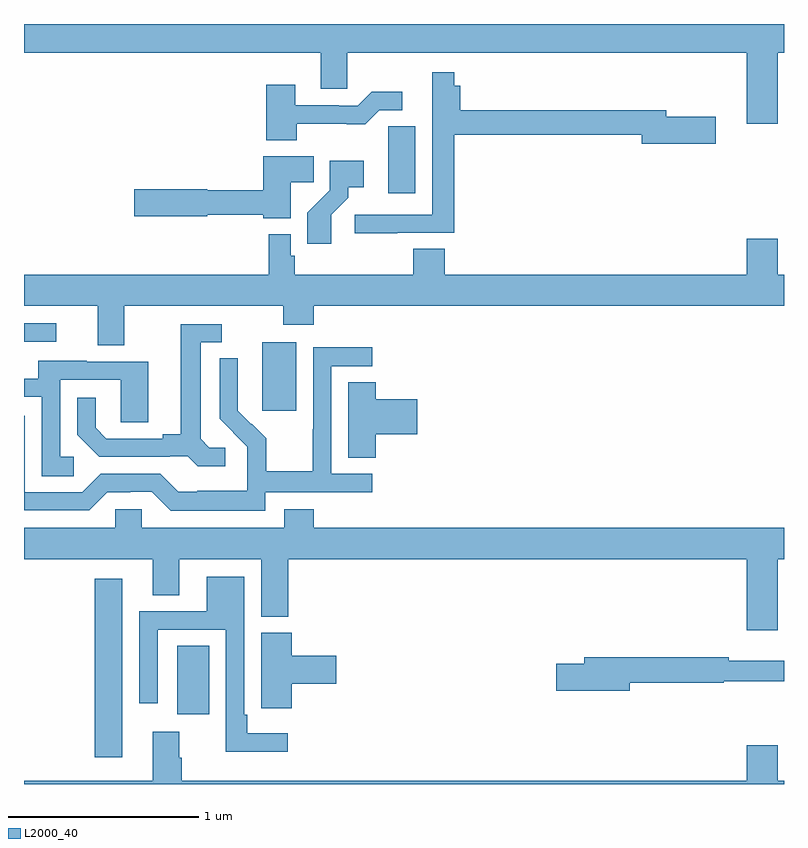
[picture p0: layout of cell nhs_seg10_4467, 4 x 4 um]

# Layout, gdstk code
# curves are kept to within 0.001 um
import gdstk
lib = gdstk.Library(unit=1e-6, precision=1e-09)
def R(c, l, rs):  # rectangles x0, y0, x1, y1
    for r in rs: c.add(gdstk.rectangle(r[:2], r[2:], *l))
def P(c, l, *ps):  # polygons
    for p in ps: c.add(gdstk.Polygon(p, *l))
L2000_40 = (2000, 40)

nhs_seg10_4467 = lib.new_cell('nhs_seg10_4467')
R(nhs_seg10_4467, L2000_40, [(365.372,1264.641,365.518,1265.581), (365.807,1264.866,365.974,1265.228), (366.254,1266.465,366.433,1266.826), (365,1266.828,365.17,1266.924)])
P(nhs_seg10_4467, L2000_40, [(368.968,1268.348),(369,1268.348),(369,1268.5),(365,1268.5),(365,1268.348),(366.563,1268.348),(366.563,1268.158),(366.702,1268.158),(366.702,1268.348),(368.804,1268.348),(368.804,1267.974),(368.968,1267.974)],
  [(366.965,1267.401),(367.265,1267.401),(367.265,1267.918),(368.252,1267.918),(368.252,1267.871),(368.641,1267.871),(368.641,1268.013),(368.38,1268.013),(368.38,1268.047),(367.295,1268.047),(367.295,1268.176),(367.265,1268.176),(367.265,1268.245),(367.149,1268.245),(367.149,1267.497),(366.741,1267.497),(366.741,1267.399),(366.965,1267.399)],
  [(366.435,1267.974),(366.797,1267.973),(366.87,1268.046),(366.991,1268.046),(366.991,1268.143),(366.829,1268.143),(366.756,1268.07),(366.656,1268.07),(366.656,1268.073),(366.427,1268.073),(366.427,1268.179),(366.275,1268.179),(366.275,1267.889),(366.435,1267.889)],
  [(367.06,1267.961),(366.918,1267.961),(366.918,1267.85),(366.917,1267.85),(366.917,1267.608),(367.06,1267.608)],
  [(366.403,1267.666),(366.524,1267.666),(366.524,1267.804),(366.259,1267.804),(366.259,1267.625),(365.964,1267.625),(365.964,1267.631),(365.58,1267.631),(365.58,1267.489),(365.964,1267.489),(365.964,1267.497),(366.259,1267.497),(366.259,1267.478),(366.403,1267.478)],
  [(366.616,1267.495),(366.706,1267.585),(366.706,1267.64),(366.787,1267.64),(366.787,1267.78),(366.609,1267.78),(366.609,1267.625),(366.49,1267.506),(366.49,1267.344),(366.616,1267.344)],
  [(365.527,1267.016),(366.364,1267.016),(366.364,1266.917),(366.524,1266.917),(366.524,1267.016),(369,1267.016),(369,1267.18),(368.968,1267.18),(368.968,1267.369),(368.804,1267.369),(368.804,1267.18),(367.214,1267.18),(367.214,1267.316),(367.049,1267.316),(367.049,1267.18),(366.425,1267.18),(366.425,1267.281),(366.405,1267.281),(366.405,1267.393),(366.289,1267.393),(366.289,1267.18),(365,1267.18),(365,1267.016),(365.387,1267.016),(365.387,1266.808),(365.527,1266.808)],
  [(366.058,1266.27),(365.976,1266.27),(365.929,1266.317),(365.929,1266.825),(366.04,1266.825),(366.04,1266.921),(365.825,1266.921),(365.825,1266.341),(365.729,1266.341),(365.729,1266.318),(365.434,1266.318),(365.377,1266.375),(365.377,1266.532),(365.28,1266.532),(365.28,1266.338),(365.396,1266.222),(365.768,1266.222),(365.768,1266.225),(365.862,1266.225),(365.914,1266.173),(366.058,1266.173)],
  [(366.27,1266.036),(366.832,1266.036),(366.832,1266.132),(366.618,1266.132),(366.618,1266.699),(366.832,1266.699),(366.832,1266.798),(366.522,1266.798),(366.522,1266.368),(366.52,1266.368),(366.52,1266.145),(366.275,1266.145),(366.275,1266.319),(366.198,1266.396),(366.195,1266.393),(366.125,1266.464),(366.126,1266.74),(366.03,1266.74),(366.03,1266.422),(366.176,1266.274),(366.176,1266.177),(366.174,1266.177),(366.174,1266.043),(365.911,1266.043),(365.911,1266.039),(365.811,1266.039),(365.718,1266.132),(365.403,1266.132),(365.307,1266.036),(365.004,1266.036),(365.004,1266.438),(365,1266.438),(365,1265.94),(365.343,1265.94),(365.439,1266.036),(365.558,1266.036),(365.558,1266.039),(365.673,1266.039),(365.773,1265.939),(366.27,1265.939)],
  [(365.263,1266.222),(365.19,1266.222),(365.19,1266.627),(365.508,1266.627),(365.508,1266.403),(365.653,1266.403),(365.653,1266.723),(365.329,1266.723),(365.329,1266.727),(365.075,1266.727),(365.075,1266.633),(365,1266.633),(365,1266.537),(365.094,1266.537),(365.094,1266.121),(365.263,1266.121)],
  [(366.851,1266.341),(367.069,1266.341),(367.069,1266.524),(366.851,1266.524),(366.851,1266.614),(366.707,1266.614),(366.707,1266.217),(366.851,1266.217)],
  [(368.968,1265.684),(369,1265.684),(369,1265.848),(366.524,1265.848),(366.524,1265.947),(366.371,1265.947),(366.371,1265.848),(365.619,1265.848),(365.619,1265.946),(365.481,1265.946),(365.481,1265.848),(365,1265.848),(365,1265.684),(365.678,1265.684),(365.678,1265.494),(365.818,1265.494),(365.818,1265.684),(366.248,1265.684),(366.248,1265.38),(366.392,1265.38),(366.392,1265.684),(368.804,1265.684),(368.804,1265.31),(368.968,1265.31)],
  [(366.388,1264.768),(366.175,1264.768),(366.175,1264.864),(366.159,1264.864),(366.159,1265.59),(365.963,1265.59),(365.963,1265.409),(365.607,1265.409),(365.607,1264.926),(365.703,1264.926),(365.703,1265.313),(366.063,1265.313),(366.063,1264.67),(366.388,1264.67)],
  [(366.41,1265.027),(366.643,1265.027),(366.643,1265.174),(366.41,1265.174),(366.41,1265.295),(366.248,1265.295),(366.248,1265.011),(366.249,1265.011),(366.249,1264.899),(366.41,1264.899)],
  [(368.188,1265.032),(368.684,1265.032),(368.684,1265.04),(369,1265.04),(369,1265.149),(368.708,1265.149),(368.708,1265.168),(367.949,1265.168),(367.949,1265.132),(367.8,1265.132),(367.8,1264.99),(368.188,1264.99)],
  [(369,1264.516),(368.968,1264.516),(368.968,1264.705),(368.804,1264.705),(368.804,1264.516),(365.831,1264.516),(365.831,1264.637),(365.818,1264.637),(365.818,1264.774),(365.678,1264.774),(365.678,1264.516),(365,1264.516),(365,1264.5),(369,1264.5)])

lib.write_gds('nhs_seg10_4467.gds')
